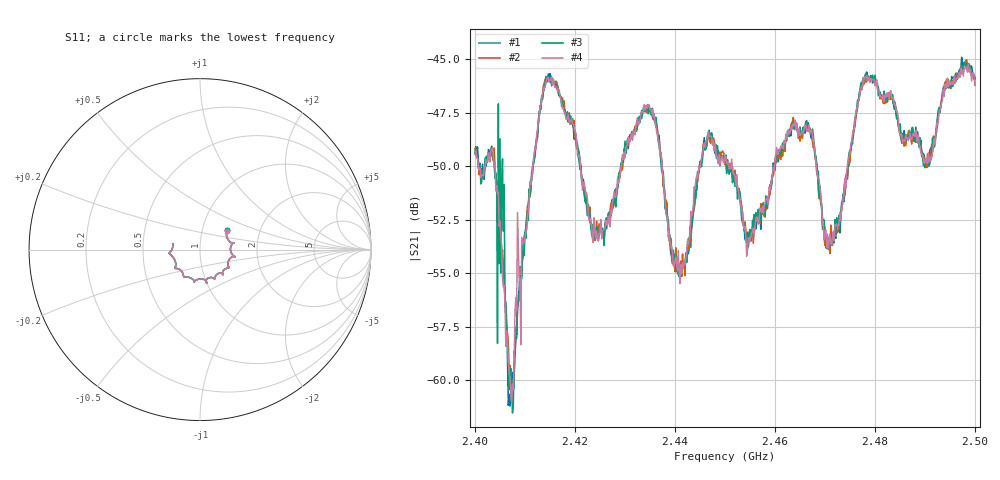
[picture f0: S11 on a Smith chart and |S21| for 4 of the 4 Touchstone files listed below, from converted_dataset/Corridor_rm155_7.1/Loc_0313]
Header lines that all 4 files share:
# Hz S RI R 50
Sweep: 2.4 GHz to 2.5 GHz
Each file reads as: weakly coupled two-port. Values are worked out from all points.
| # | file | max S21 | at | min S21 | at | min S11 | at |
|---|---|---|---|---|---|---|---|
| 1 | Lab_139_2Ch1.s2p | -44.92 dB | 2.4973 GHz | -61.2 dB | 2.407 GHz | -15.9 dB | 2.4993 GHz |
| 2 | Lab_139_3Ch1.s2p | -45.04 dB | 2.4983 GHz | -61.0 dB | 2.4073 GHz | -15.9 dB | 2.4898 GHz |
| 3 | Lab_139_9Ch1.s2p | -45.16 dB | 2.4978 GHz | -61.5 dB | 2.4075 GHz | -15.9 dB | 2.49 GHz |
| 4 | Lab_139_10Ch1.s2p | -45.25 dB | 2.4987 GHz | -61.1 dB | 2.4073 GHz | -15.9 dB | 2.49 GHz |
